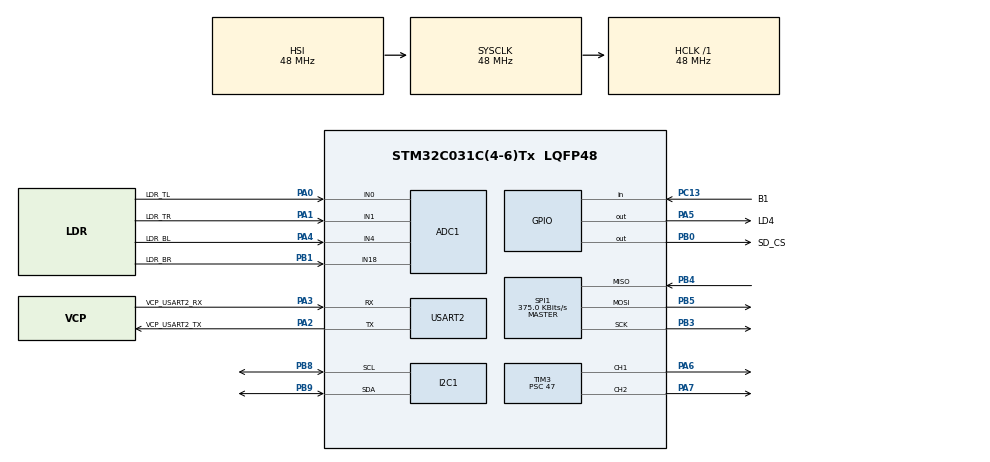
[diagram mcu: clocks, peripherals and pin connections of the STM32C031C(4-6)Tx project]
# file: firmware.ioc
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ADC1.NbrOfConversionFlag=0
ADC1.SamplingTimeCommon1=ADC_SAMPLETIME_39CYCLES_5
ADC1.SelectedChannel=ADC_CHANNEL_0|ADC_CHANNEL_1|ADC_CHANNEL_4|ADC_CHANNEL_18
ADC1.master=1
I2C1.Timing=0x10805D88
Mcu.Family=STM32C0
Mcu.Name=STM32C031C(4-6)Tx
Mcu.Package=LQFP48
PA0.GPIO_Label=LDR_TL
PA0.Mode=IN0
PA0.Signal=ADC1_IN0
PA1.GPIO_Label=LDR_TR
PA1.Mode=IN1
PA1.Signal=ADC1_IN1
PA13.GPIO_Label=DEBUG_SWDIO
PA13.Mode=Serial_Wire
PA13.Signal=DEBUG_SWDIO
PA14-BOOT0.GPIO_Label=DEBUG_SWCLK
PA14-BOOT0.Mode=Serial_Wire
PA14-BOOT0.Signal=DEBUG_SWCLK
PA2.GPIO_Label=VCP_USART2_TX
PA2.Mode=Asynchronous
PA2.Signal=USART2_TX
PA3.GPIO_Label=VCP_USART2_RX
PA3.Mode=Asynchronous
PA3.Signal=USART2_RX
PA4.GPIO_Label=LDR_BL
PA4.Mode=IN4
PA4.Signal=ADC1_IN4
PA5.GPIO_Label=LD4
PA5.Signal=GPIO_Output
PA6.Signal=S_TIM3_CH1
PA7.Signal=S_TIM3_CH2
PB0.GPIO_Label=SD_CS
PB0.PinState=GPIO_PIN_SET
PB0.Signal=GPIO_Output
PB1.GPIO_Label=LDR_BR
PB1.Mode=IN18
PB1.Signal=ADC1_IN18
PB3.Mode=Full_Duplex_Master
PB3.Signal=SPI1_SCK
PB4.Mode=Full_Duplex_Master
PB4.Signal=SPI1_MISO
PB5.Mode=Full_Duplex_Master
PB5.Signal=SPI1_MOSI
PB8.Mode=I2C
PB8.Signal=I2C1_SCL
PB9.Mode=I2C
PB9.Signal=I2C1_SDA
PC13.GPIO_Label=B1
PC13.Signal=GPIO_Input
ProjectManager.HeapSize=0x200
ProjectManager.StackSize=0x400
ProjectManager.TargetToolchain=Makefile
RCC.ADCFreq_Value=48000000
RCC.AHBFreq_Value=48000000
RCC.CortexFreq_Value=48000000
RCC.EXTERNAL_CLOCK_VALUE=12288000
RCC.HCLKFreq_Value=48000000
RCC.HSE_VALUE=48000000
RCC.HSISYSCLKDivider=RCC_HSI_DIV1
RCC.HSI_VALUE=48000000
RCC.SYSCLKFreq_VALUE=48000000
SH.S_TIM3_CH1.0=TIM3_CH1,PWM Generation1 CH1
SH.S_TIM3_CH2.0=TIM3_CH2,PWM Generation2 CH2
SPI1.BaudRatePrescaler=SPI_BAUDRATEPRESCALER_128
SPI1.CalculateBaudRate=375.0 KBits/s
SPI1.Direction=SPI_DIRECTION_2LINES
SPI1.Mode=SPI_MODE_MASTER
SPI1.NSSPMode=SPI_NSS_PULSE_DISABLE
SPI1.VirtualType=VM_MASTER
TIM3.AutoReloadPreload=TIM_AUTORELOAD_PRELOAD_ENABLE
TIM3.Channel-PWM\ Generation1\ CH1=TIM_CHANNEL_1
TIM3.Channel-PWM\ Generation2\ CH2=TIM_CHANNEL_2
TIM3.Period=19999
TIM3.Prescaler=47
TIM3.Pulse-PWM\ Generation1\ CH1=1500
TIM3.Pulse-PWM\ Generation2\ CH2=1500
USART2.VirtualMode-Asynchronous=VM_ASYNC
VP_TIM3_VS_ClockSourceINT.Mode=Internal
board=NUCLEO-C031C6

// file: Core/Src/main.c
/* USER CODE BEGIN Header */
/**
  ******************************************************************************
  * @file           : main.c
  * @brief          : Main program body
  ******************************************************************************
  * @attention
  *
  * Copyright (c) 2026 STMicroelectronics.
  * All rights reserved.
  *
  * This software is licensed under terms that can be found in the LICENSE file
  * in the root directory of this software component.
  * If no LICENSE file comes with this software, it is provided AS-IS.
  *
  ******************************************************************************
  */
/* USER CODE END Header */
#include "main.h"
#include "adc.h"
#include "i2c.h"
#include "spi.h"
#include "tim.h"
#include "usart.h"
#include "gpio.h"

/* USER CODE BEGIN Includes */
#include <stdio.h>
#include <string.h>
/* USER CODE END Includes */

void SystemClock_Config(void);

/* USER CODE BEGIN 0 */
int _write(int fd, char *ptr, int len)
{
  (void)fd;
  HAL_UART_Transmit(&huart2, (uint8_t *)ptr, (uint16_t)len, HAL_MAX_DELAY);
  return len;
}

static void report(const char *what, HAL_StatusTypeDef st)
{
  printf("  %-22s %s\r\n", what, st == HAL_OK ? "OK" : "FAIL");
}

static void i2c_scan(void)
{
  int found = 0;
  printf("  I2C1 scan:");
  for (uint8_t addr = 0x08; addr <= 0x77; addr++)
  {
    if (HAL_I2C_IsDeviceReady(&hi2c1, (uint16_t)(addr << 1), 1, 5) == HAL_OK)
    {
      printf(" 0x%02X", addr);
      found++;
    }
  }
  printf(found ? "\r\n" : " none\r\n");
}

static const uint32_t ldr_channels[4] = { ADC_CHANNEL_0, ADC_CHANNEL_1, ADC_CHANNEL_4, ADC_CHANNEL_18 };

static HAL_StatusTypeDef adc_select(uint32_t channel, uint32_t rank)
{
  ADC_ChannelConfTypeDef c = {0};
  c.Channel = channel;
  c.Rank = rank;
  c.SamplingTime = ADC_SAMPLINGTIME_COMMON_1;
  return HAL_ADC_ConfigChannel(&hadc1, &c);
}

static HAL_StatusTypeDef adc_read_all(uint16_t out[4])
{
  for (int i = 0; i < 4; i++)
  {
    for (int j = 0; j < 4; j++)
    {
      if (adc_select(ldr_channels[j], j == i ? ADC_RANK_CHANNEL_NUMBER : ADC_RANK_NONE) != HAL_OK)
      {
        printf("  ADC: config ch%d failed\r\n", j);
        return HAL_ERROR;
      }
    }
    if (HAL_ADC_Start(&hadc1) != HAL_OK)
    {
      printf("  ADC: start failed\r\n");
      return HAL_ERROR;
    }
    if (HAL_ADC_PollForConversion(&hadc1, 10) != HAL_OK)
    {
      printf("  ADC: timeout on ch%d\r\n", i);
      HAL_ADC_Stop(&hadc1);
      return HAL_TIMEOUT;
    }
    out[i] = (uint16_t)HAL_ADC_GetValue(&hadc1);
    HAL_ADC_Stop(&hadc1);
  }
  return HAL_OK;
}
/* USER CODE END 0 */

int main(void)
{

  /* MCU Configuration--------------------------------------------------------*/

  /* Reset of all peripherals, Initializes the Flash interface and the Systick. */
  HAL_Init();

  /* Configure the system clock */
  SystemClock_Config();

  /* Initialize all configured peripherals */
  MX_GPIO_Init();
  MX_ADC1_Init();
  MX_I2C1_Init();
  MX_SPI1_Init();
  MX_TIM3_Init();
  MX_USART2_UART_Init();
  /* USER CODE BEGIN 2 */
  printf("hello from STM32C031 (heliostat LR1)\r\n");
  printf("SYSCLK = %lu Hz\r\n", HAL_RCC_GetSysClockFreq());

  printf("MX init: GPIO ADC1 I2C1 SPI1 TIM3 USART2 -> HAL_OK\r\n");
  printf("Bring-up checks:\r\n");

  report("TIM3 CH1 PWM start", HAL_TIM_PWM_Start(&htim3, TIM_CHANNEL_1));
  report("TIM3 CH2 PWM start", HAL_TIM_PWM_Start(&htim3, TIM_CHANNEL_2));

  uint8_t dummy[10];
  memset(dummy, 0xFF, sizeof dummy);
  HAL_GPIO_WritePin(SD_CS_GPIO_Port, SD_CS_Pin, GPIO_PIN_SET);
  report("SPI1 80 dummy clocks", HAL_SPI_Transmit(&hspi1, dummy, sizeof dummy, 100));

  report("I2C1 OLED @0x3C ready", HAL_I2C_IsDeviceReady(&hi2c1, 0x3C << 1, 3, 10));
  i2c_scan();

  uint16_t ldr[4];
  report("ADC1 4-channel scan", adc_read_all(ldr));
  /* USER CODE END 2 */

  /* Infinite loop */
  while (1)
  {

    /* USER CODE BEGIN 3 */
    HAL_Delay(1000);
    HAL_GPIO_TogglePin(LD4_GPIO_Port, LD4_Pin);

    static int flip = 0;
    flip ^= 1;
    uint32_t az_us = flip ? 1000 : 2000;
    uint32_t el_us = flip ? 2000 : 1000;
    __HAL_TIM_SET_COMPARE(&htim3, TIM_CHANNEL_1, az_us);
    __HAL_TIM_SET_COMPARE(&htim3, TIM_CHANNEL_2, el_us);

    if (adc_read_all(ldr) == HAL_OK)
      printf("tick %lu | LDR TL=%4u TR=%4u BL=%4u BR=%4u | servo AZ=%lu EL=%lu us\r\n",
             HAL_GetTick() / 1000, ldr[0], ldr[1], ldr[2], ldr[3], az_us, el_us);
    else
      printf("tick %lu | ADC error | servo AZ=%lu EL=%lu us\r\n",
             HAL_GetTick() / 1000, az_us, el_us);
  }
  /* USER CODE END 3 */
}

void SystemClock_Config(void)
{
  RCC_OscInitTypeDef RCC_OscInitStruct = {0};
  RCC_ClkInitTypeDef RCC_ClkInitStruct = {0};

  __HAL_FLASH_SET_LATENCY(FLASH_LATENCY_1);

  /** Initializes the RCC Oscillators according to the specified parameters
  * in the RCC_OscInitTypeDef structure.
  */
  RCC_OscInitStruct.OscillatorType = RCC_OSCILLATORTYPE_HSI;
  RCC_OscInitStruct.HSIState = RCC_HSI_ON;
  RCC_OscInitStruct.HSIDiv = RCC_HSI_DIV1;
  RCC_OscInitStruct.HSICalibrationValue = RCC_HSICALIBRATION_DEFAULT;
  if (HAL_RCC_OscConfig(&RCC_OscInitStruct) != HAL_OK)
  {
    Error_Handler();
  }

  /** Initializes the CPU, AHB and APB buses clocks
  */
  RCC_ClkInitStruct.ClockType = RCC_CLOCKTYPE_HCLK|RCC_CLOCKTYPE_SYSCLK
                              |RCC_CLOCKTYPE_PCLK1;
  RCC_ClkInitStruct.SYSCLKSource = RCC_SYSCLKSOURCE_HSI;
  RCC_ClkInitStruct.SYSCLKDivider = RCC_SYSCLK_DIV1;
  RCC_ClkInitStruct.AHBCLKDivider = RCC_HCLK_DIV1;
  RCC_ClkInitStruct.APB1CLKDivider = RCC_APB1_DIV1;

  if (HAL_RCC_ClockConfig(&RCC_ClkInitStruct, FLASH_LATENCY_1) != HAL_OK)
  {
    Error_Handler();
  }
}

void Error_Handler(void)
{
  __disable_irq();
  while (1)
  {
  }
}
